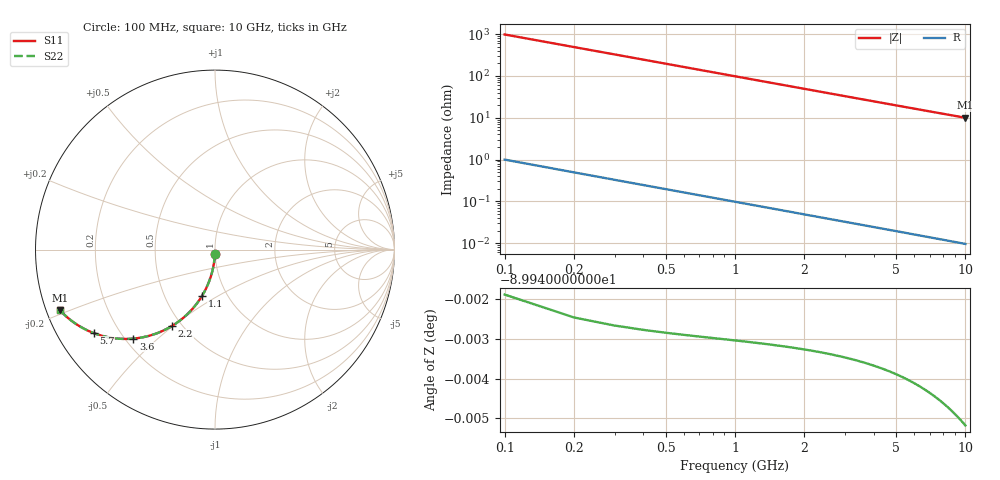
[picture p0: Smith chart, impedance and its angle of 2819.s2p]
# Hz S RI R 50.00
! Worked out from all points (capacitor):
!   100 points, 100 MHz to 10 GHz, reference 50 ohm
!   read as one part in shunt: C = 1.62 pF near 100 MHz
!   lowest |Z| = 9.99 ohm at 10 GHz (marker M1)
!   S11 on the Smith chart (normalised r, x): 100 MHz: 1.00, -0.05; 1.1 GHz: 0.76, -0.43; 2.2 GHz: 0.44, -0.50; 3.6 GHz: 0.23, -0.42; 5.7 GHz: 0.11, -0.31; 10 GHz: 0.04, -0.19
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1e8  -0.000659 -0.0254  0.9993 -0.0255  0.9993 -0.0255  -0.000659 -0.0254
2e8  -0.00262 -0.0507  0.9973 -0.0509  0.9973 -0.0509  -0.00262 -0.0507
3e8  -0.00587 -0.0759  0.9941 -0.0761  0.9941 -0.0761  -0.00587 -0.0759
4e8  -0.0104 -0.1007  0.9896 -0.101  0.9896 -0.101  -0.0104 -0.1007
5e8  -0.0161 -0.1251  0.9839 -0.1255  0.9839 -0.1255  -0.0161 -0.1251
6e8  -0.023 -0.1491  0.977 -0.1496  0.977 -0.1496  -0.023 -0.1491
7e8  -0.031 -0.1725  0.969 -0.1731  0.969 -0.1731  -0.031 -0.1725
9e8  -0.0501 -0.2173  0.9499 -0.2181  0.9499 -0.2181  -0.0501 -0.2173
1.1e9  -0.073 -0.2591  0.927 -0.2601  0.927 -0.2601  -0.073 -0.2591
1.4e9  -0.113 -0.3155  0.887 -0.3167  0.887 -0.3167  -0.113 -0.3155
1.8e9  -0.1737 -0.3776  0.8262 -0.3792  0.8262 -0.3792  -0.1737 -0.3776
2.2e9  -0.2388 -0.4249  0.7612 -0.4268  0.7612 -0.4268  -0.2388 -0.4249
2.8e9  -0.3366 -0.4708  0.6634 -0.4733  0.6634 -0.4733  -0.3366 -0.4708
3.4e9  -0.4276 -0.4927  0.5724 -0.4957  0.5724 -0.4957  -0.4276 -0.4927
3.6e9  -0.4556 -0.4959  0.5443 -0.4991  0.5443 -0.4991  -0.4556 -0.4959
4.3e9  -0.5438 -0.4957  0.4561 -0.4995  0.4561 -0.4995  -0.5438 -0.4957
5.1e9  -0.6261 -0.4811  0.3739 -0.4856  0.3739 -0.4856  -0.6261 -0.4811
5.7e9  -0.6762 -0.4649  0.3237 -0.4699  0.3237 -0.4699  -0.6762 -0.4649
6.7e9  -0.7423 -0.4339  0.2576 -0.4398  0.2576 -0.4398  -0.7423 -0.4339
7.5e9  -0.7829 -0.4084  0.2171 -0.4151  0.2171 -0.4151  -0.7829 -0.4084
8.4e9  -0.8187 -0.3809  0.1812 -0.3885  0.1812 -0.3885  -0.8187 -0.3809
1e10  -0.8647 -0.337  0.1352 -0.346  0.1352 -0.346  -0.8647 -0.337
